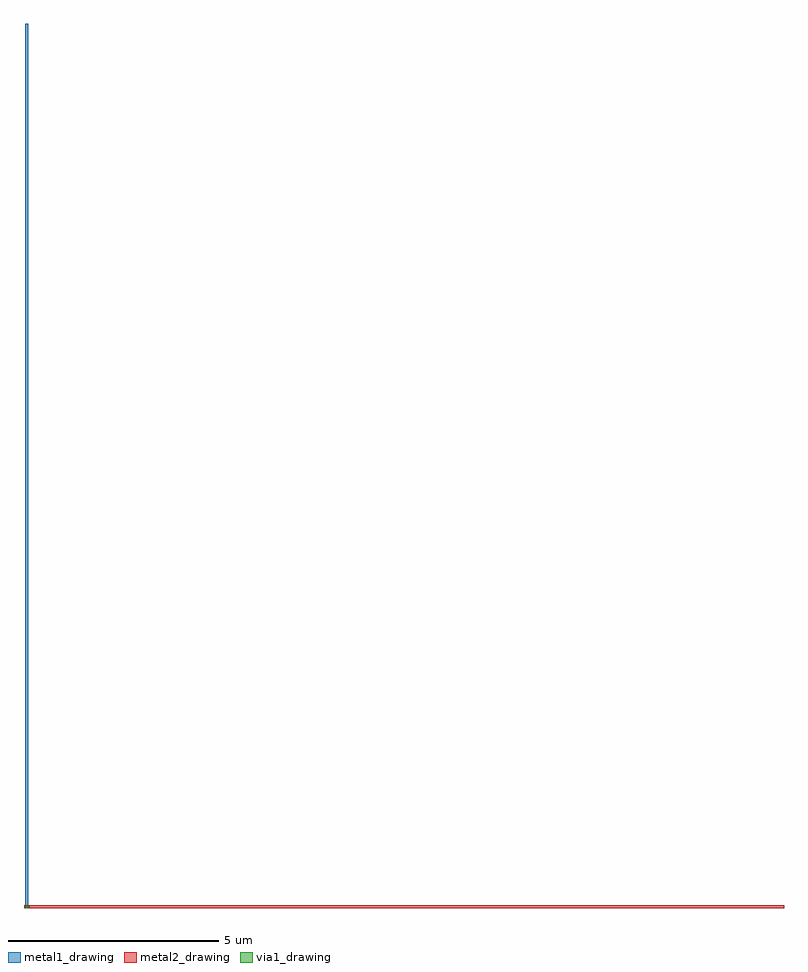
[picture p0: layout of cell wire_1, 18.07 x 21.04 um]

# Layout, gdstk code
from math import pi, radians
import gdstk
lib = gdstk.Library(unit=1e-6, precision=5e-10)
def R(c, l, rs):  # rectangles x0, y0, x1, y1
    for r in rs: c.add(gdstk.rectangle(r[:2], r[2:], *l))
def A(c, l, x, y, w, h, nx, ny, dx, dy):  # array of equal rectangles
    R(c, l, [(x+i*dx, y+j*dy, x+i*dx+w, y+j*dy+h) for i in range(nx) for j in range(ny)])
metal1_drawing = (11, 0)
via1_drawing = (12, 0)
metal2_drawing = (13, 0)

via1_1x1_num3 = lib.new_cell('via1_1x1_num3')
R(via1_1x1_num3, metal1_drawing, [(0.0025,0,0.0675,0.135)])
R(via1_1x1_num3, via1_drawing, [(0.0025,0.035,0.0675,0.1)])
R(via1_1x1_num3, metal2_drawing, [(0,0,0.07,0.135)])

wire_1 = lib.new_cell('wire_1')
A(wire_1, metal1_drawing, -0.0325, -21, 0.065, 1, 1, 21, 0, 1)
R(wire_1, metal1_drawing, [(-0.0325,-21.035,0.0325,-20.965)])
A(wire_1, metal2_drawing, 0, -21.035, 1, 0.07, 18, 1, 1, 0)
R(wire_1, metal2_drawing, [(-0.0325,-21.035,0.0325,-20.965)])
wire_1.add(gdstk.Reference(via1_1x1_num3, (0.0675,-21.035), rotation=pi/2))

lib.write_gds('wire_1.gds')
